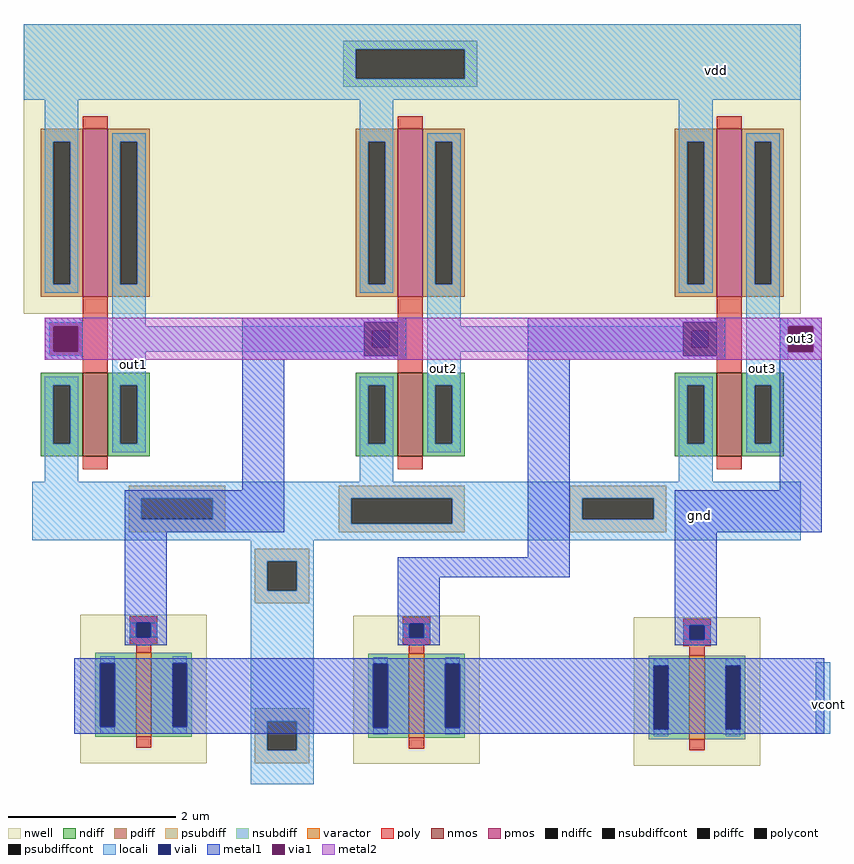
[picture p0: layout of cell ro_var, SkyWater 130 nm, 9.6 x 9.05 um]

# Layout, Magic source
magic
tech sky130A
magscale 1 2
<< nwell >>
rect -250 320 1600 1010
rect -116 -750 186 -397
rect 534 -752 836 -399
rect 1202 -756 1504 -403
<< nmos >>
rect -110 -20 -50 180
rect 640 -20 700 180
rect 1400 -20 1460 180
<< pmos >>
rect -110 360 -50 760
rect 640 360 700 760
rect 1400 360 1460 760
<< varactor >>
rect 17 -688 53 -488
rect 667 -690 703 -490
rect 1335 -694 1371 -494
<< ndiff >>
rect -210 150 -110 180
rect -210 10 -180 150
rect -140 10 -110 150
rect -210 -20 -110 10
rect -50 150 50 180
rect -50 10 -20 150
rect 20 10 50 150
rect -50 -20 50 10
rect 540 150 640 180
rect 540 10 570 150
rect 610 10 640 150
rect 540 -20 640 10
rect 700 150 800 180
rect 700 10 730 150
rect 770 10 800 150
rect 700 -20 800 10
rect 1300 150 1400 180
rect 1300 10 1330 150
rect 1370 10 1400 150
rect 1300 -20 1400 10
rect 1460 150 1560 180
rect 1460 10 1490 150
rect 1530 10 1560 150
rect 1460 -20 1560 10
<< pdiff >>
rect -210 730 -110 760
rect -210 390 -180 730
rect -140 390 -110 730
rect -210 360 -110 390
rect -50 730 50 760
rect -50 390 -20 730
rect 20 390 50 730
rect -50 360 50 390
rect 540 730 640 760
rect 540 390 570 730
rect 610 390 640 730
rect 540 360 640 390
rect 700 730 800 760
rect 700 390 730 730
rect 770 390 800 730
rect 700 360 800 390
rect 1300 730 1400 760
rect 1300 390 1330 730
rect 1370 390 1400 730
rect 1300 360 1400 390
rect 1460 730 1560 760
rect 1460 390 1490 730
rect 1530 390 1560 730
rect 1460 360 1560 390
<< ndiffc >>
rect -180 10 -140 150
rect -20 10 20 150
rect 570 10 610 150
rect 730 10 770 150
rect 1330 10 1370 150
rect 1490 10 1530 150
<< pdiffc >>
rect -180 390 -140 730
rect -20 390 20 730
rect 570 390 610 730
rect 730 390 770 730
rect 1330 390 1370 730
rect 1490 390 1530 730
<< psubdiff >>
rect 0 -120 230 -90
rect 0 -170 30 -120
rect 200 -170 230 -120
rect 0 -200 230 -170
rect 500 -120 800 -90
rect 500 -180 530 -120
rect 770 -180 800 -120
rect 500 -200 800 -180
rect 1050 -120 1280 -90
rect 1050 -170 1080 -120
rect 1250 -170 1280 -120
rect 1050 -200 1280 -170
rect 300 -270 430 -240
rect 300 -340 330 -270
rect 400 -340 430 -270
rect 300 -370 430 -340
rect 300 -650 430 -620
rect 300 -720 330 -650
rect 400 -720 430 -650
rect 300 -750 430 -720
<< nsubdiff >>
rect 510 950 830 970
rect 510 880 540 950
rect 800 880 830 950
rect 510 860 830 880
rect -80 -512 17 -488
rect -80 -664 -68 -512
rect -34 -664 17 -512
rect -80 -688 17 -664
rect 53 -512 150 -488
rect 53 -664 104 -512
rect 138 -664 150 -512
rect 570 -514 667 -490
rect 53 -688 150 -664
rect 570 -666 582 -514
rect 616 -666 667 -514
rect 570 -690 667 -666
rect 703 -514 800 -490
rect 703 -666 754 -514
rect 788 -666 800 -514
rect 703 -690 800 -666
rect 1238 -518 1335 -494
rect 1238 -670 1250 -518
rect 1284 -670 1335 -518
rect 1238 -694 1335 -670
rect 1371 -518 1468 -494
rect 1371 -670 1422 -518
rect 1456 -670 1468 -518
rect 1371 -694 1468 -670
<< psubdiffcont >>
rect 30 -170 200 -120
rect 530 -180 770 -120
rect 1080 -170 1250 -120
rect 330 -340 400 -270
rect 330 -720 400 -650
<< nsubdiffcont >>
rect 540 880 800 950
rect -68 -664 -34 -512
rect 104 -664 138 -512
rect 582 -666 616 -514
rect 754 -666 788 -514
rect 1250 -670 1284 -518
rect 1422 -670 1456 -518
<< poly >>
rect -110 760 -50 790
rect 640 760 700 790
rect 1400 760 1460 790
rect -110 300 -50 360
rect 640 300 700 360
rect 1400 300 1460 360
rect -190 280 -50 300
rect -190 240 -170 280
rect -130 240 -50 280
rect -190 220 -50 240
rect 560 280 700 300
rect 560 240 580 280
rect 620 240 700 280
rect 560 220 700 240
rect 1320 280 1460 300
rect 1320 240 1340 280
rect 1380 240 1460 280
rect 1320 220 1460 240
rect -110 180 -50 220
rect 640 180 700 220
rect 1400 180 1460 220
rect -110 -50 -50 -20
rect 640 -50 700 -20
rect 1400 -50 1460 -20
rect 2 -416 68 -400
rect 2 -450 18 -416
rect 52 -450 68 -416
rect 2 -466 68 -450
rect 652 -418 718 -402
rect 652 -452 668 -418
rect 702 -452 718 -418
rect 17 -488 53 -466
rect 652 -468 718 -452
rect 1320 -422 1386 -406
rect 1320 -456 1336 -422
rect 1370 -456 1386 -422
rect 667 -490 703 -468
rect 1320 -472 1386 -456
rect 17 -714 53 -688
rect 1335 -494 1371 -472
rect 667 -716 703 -690
rect 1335 -720 1371 -694
<< polycont >>
rect -170 240 -130 280
rect 580 240 620 280
rect 1340 240 1380 280
rect 18 -450 52 -416
rect 668 -452 702 -418
rect 1336 -456 1370 -422
<< locali >>
rect -250 950 1600 1010
rect -250 880 540 950
rect 800 880 1600 950
rect -250 830 1600 880
rect -200 730 -120 830
rect -200 390 -180 730
rect -140 390 -120 730
rect -200 370 -120 390
rect -40 730 40 750
rect -40 390 -20 730
rect 20 390 40 730
rect -190 290 -110 300
rect -190 230 -180 290
rect -120 230 -110 290
rect -190 220 -110 230
rect -40 290 40 390
rect 550 730 630 830
rect 550 390 570 730
rect 610 390 630 730
rect 550 370 630 390
rect 710 730 790 750
rect 710 390 730 730
rect 770 390 790 730
rect -40 230 560 290
rect -200 150 -120 170
rect -200 10 -180 150
rect -140 10 -120 150
rect -200 -80 -120 10
rect -40 150 40 230
rect 710 290 790 390
rect 1310 730 1390 830
rect 1310 390 1330 730
rect 1370 390 1390 730
rect 1310 370 1390 390
rect 1470 730 1550 750
rect 1470 390 1490 730
rect 1530 390 1550 730
rect 1470 310 1550 390
rect 710 230 1320 290
rect -40 10 -20 150
rect 20 10 40 150
rect -40 -10 40 10
rect 550 150 630 170
rect 550 10 570 150
rect 610 10 630 150
rect 550 -80 630 10
rect 710 150 790 230
rect 1470 210 1570 310
rect 710 10 730 150
rect 770 10 790 150
rect 710 -10 790 10
rect 1310 150 1390 170
rect 1310 10 1330 150
rect 1370 10 1390 150
rect 1310 -80 1390 10
rect 1470 150 1550 210
rect 1470 10 1490 150
rect 1530 10 1550 150
rect 1470 -10 1550 10
rect -230 -120 1600 -80
rect -230 -170 30 -120
rect 200 -170 530 -120
rect -230 -180 530 -170
rect 770 -170 1080 -120
rect 1250 -170 1600 -120
rect 770 -180 1600 -170
rect -230 -220 1600 -180
rect 290 -270 440 -220
rect 290 -340 330 -270
rect 400 -340 440 -270
rect 2 -450 18 -416
rect 52 -450 68 -416
rect -68 -512 -34 -496
rect -68 -680 -34 -664
rect 104 -512 138 -496
rect 104 -680 138 -664
rect 290 -650 440 -340
rect 652 -452 668 -418
rect 702 -452 718 -418
rect 1320 -456 1336 -422
rect 1370 -456 1386 -422
rect 290 -720 330 -650
rect 400 -720 440 -650
rect 582 -514 616 -498
rect 582 -682 616 -666
rect 754 -514 788 -498
rect 754 -682 788 -666
rect 1250 -518 1284 -502
rect 1250 -686 1284 -670
rect 1422 -518 1456 -502
rect 1422 -686 1456 -670
rect 1636 -680 1670 -510
rect 290 -800 440 -720
<< viali >>
rect -180 280 -120 290
rect -180 240 -170 280
rect -170 240 -130 280
rect -130 240 -120 280
rect -180 230 -120 240
rect 560 280 640 300
rect 560 240 580 280
rect 580 240 620 280
rect 620 240 640 280
rect 560 220 640 240
rect 1320 280 1400 300
rect 1320 240 1340 280
rect 1340 240 1380 280
rect 1380 240 1400 280
rect 1320 220 1400 240
rect 1570 230 1630 290
rect 18 -450 52 -416
rect -68 -664 -34 -512
rect 104 -664 138 -512
rect 668 -452 702 -418
rect 1336 -456 1370 -422
rect 582 -666 616 -514
rect 754 -666 788 -514
rect 1250 -670 1284 -518
rect 1422 -670 1456 -518
<< metal1 >>
rect -200 290 -110 310
rect -200 230 -180 290
rect -120 230 -110 290
rect -200 210 -110 230
rect 270 300 660 310
rect 270 220 560 300
rect 640 220 660 300
rect 270 210 660 220
rect 950 300 1420 310
rect 950 220 1320 300
rect 1400 220 1420 300
rect 950 210 1420 220
rect 1550 290 1650 310
rect 1550 230 1570 290
rect 1630 230 1650 290
rect 270 -100 370 210
rect -10 -200 370 -100
rect -10 -416 90 -200
rect 950 -260 1050 210
rect 1550 -100 1650 230
rect -10 -450 18 -416
rect 52 -450 90 -416
rect -10 -470 90 -450
rect 640 -308 1050 -260
rect 1300 -200 1650 -100
rect 640 -418 740 -308
rect 640 -452 668 -418
rect 702 -452 740 -418
rect 640 -470 740 -452
rect 1300 -422 1400 -200
rect 1300 -456 1336 -422
rect 1370 -456 1400 -422
rect 1300 -470 1400 -456
rect -130 -512 1656 -500
rect -130 -664 -68 -512
rect -34 -664 104 -512
rect 138 -514 1656 -512
rect 138 -664 582 -514
rect -130 -666 582 -664
rect 616 -666 754 -514
rect 788 -518 1656 -514
rect 788 -666 1250 -518
rect -130 -670 1250 -666
rect 1284 -670 1422 -518
rect 1456 -670 1656 -518
rect -130 -680 1656 -670
rect 1244 -682 1290 -680
rect 1416 -682 1462 -680
<< via1 >>
rect -180 230 -120 290
rect 1570 230 1630 290
<< metal2 >>
rect -200 290 1650 310
rect -200 230 -180 290
rect -120 230 1570 290
rect 1630 230 1650 290
rect -200 210 1650 230
<< labels >>
rlabel locali 1400 900 1400 900 1 vdd
rlabel locali 1360 -160 1360 -160 1 gnd
rlabel viali 1600 260 1600 260 1 out3
rlabel locali 10 200 10 200 1 out1
rlabel locali 750 190 750 190 1 out2
rlabel locali 1510 190 1510 190 1 out3
rlabel locali 1666 -610 1666 -610 1 vcont
<< end >>
